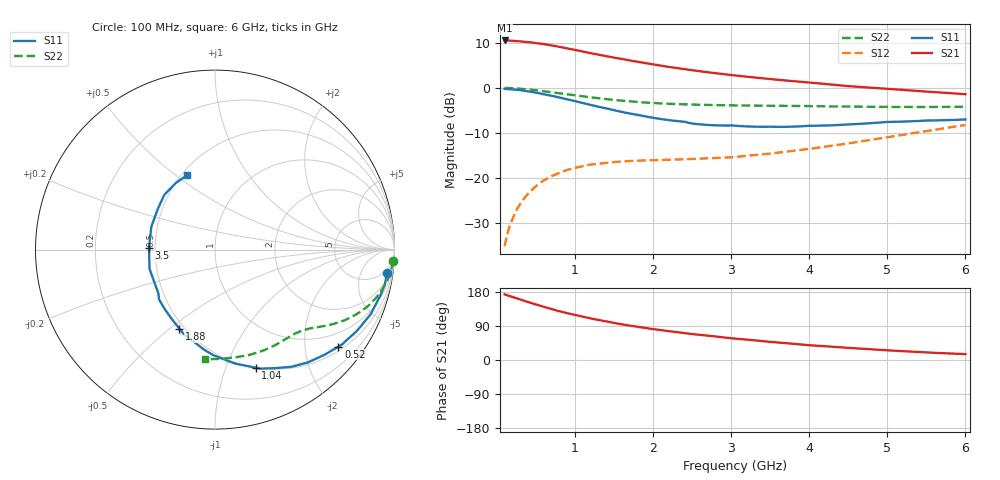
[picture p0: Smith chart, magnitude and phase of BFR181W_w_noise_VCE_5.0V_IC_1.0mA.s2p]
! Infineon Technologies  Discrete & RF Semiconductors
! BFR181W
! VCE =  5.0 V,  IC =  1.0 mA
! Common Emitter S-Parameters:  Nov 2015
# GHz  S  MA  R  50
!  f  S11  S21  S12  S22
! GHz  MAG  ANG  MAG  ANG  MAG  ANG  MAG  ANG
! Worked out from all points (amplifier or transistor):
!   192 points, 100 MHz to 6 GHz, reference 50 ohm
!   highest |S21| = 10.5 dB at 100 MHz (marker M1)
!   |S21| within 3 dB of that: start of sweep to 1.251 GHz
!   unconditionally stable (mu >= 1): 2.654 GHz to 3.887 GHz
!   at 440 MHz: K = 0.19, MSG = 16.5 dB, |S12| = -22.9 dB
!   at 1.7 GHz: K = 0.72, MSG = 11.2 dB, |S12| = -16.3 dB
!   at 6 GHz: K = 0.79, MSG = 3.4 dB, |S12| = -8.3 dB
!   lowest NFmin = 1.30 dB at 450 MHz
!   S11 on the Smith chart (normalised r, x): 100 MHz: 3, -14; 520 MHz: 0.60, -2.77; 1.04 GHz: 0.50, -1.28; 1.88 GHz: 0.47, -0.54; 3.5 GHz: 0.46, +0.01; 6 GHz: 0.53, +0.55
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0.1  0.9688 -7.6  3.346 173.3  0.0173 84.8  0.9944 -3.6
0.16  0.9638 -12.2  3.332 169.0  0.028 82.0  0.9897 -5.8
0.26  0.9444 -19.6  3.294 162.4  0.0448 77.5  0.9783 -9.2
0.4  0.9114 -29.8  3.217 152.8  0.0661 71.7  0.9554 -13.9
0.52  0.8745 -38.2  3.115 145.4  0.0825 66.4  0.9307 -17.4
0.6  0.8457 -43.9  3.051 140.4  0.0929 63.5  0.9133 -19.7
0.7  0.8142 -50.5  2.948 134.3  0.1037 60.0  0.8898 -22.3
0.8  0.7799 -56.8  2.848 128.8  0.113 56.9  0.8665 -24.6
0.9  0.7413 -63.0  2.73 123.6  0.1217 54.0  0.8439 -26.7
1.04  0.6955 -71.0  2.588 117.1  0.1306 50.5  0.8134 -29.3
1.1  0.6746 -74.2  2.52 114.4  0.134 49.1  0.801 -30.3
1.22  0.6383 -81.0  2.398 108.9  0.1403 46.7  0.7772 -32.3
1.5  0.5626 -95.9  2.158 97.8  0.1488 42.6  0.7291 -36.0
1.6  0.5365 -100.9  2.08 94.1  0.1514 41.7  0.7166 -37.1
1.88  0.4834 -114.2  1.886 85.4  0.1552 40.2  0.6848 -40.0
2.08  0.4506 -123.5  1.765 79.5  0.1571 39.9  0.6692 -42.0
2.5  0.3992 -142.1  1.561 68.4  0.1614 41.1  0.6478 -45.9
3.1  0.3749 -167.1  1.352 55.6  0.1714 46.4  0.6337 -52.5
3.5  0.3679 178.5  1.246 47.8  0.185 50.5  0.6295 -57.6
4.1  0.3774 157.1  1.122 37.7  0.2146 55.3  0.6216 -65.7
5.1  0.4171 130.3  0.958 24.4  0.2898 58.9  0.6097 -81.1
6  0.4429 110.3  0.846 15.5  0.3844 56.8  0.6141 -95.3
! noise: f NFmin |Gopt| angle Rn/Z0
0.45  1.3  0.7  18  0.5
0.9  1.4  0.6  39  0.52
1.8  1.85  0.4  81  0.47
